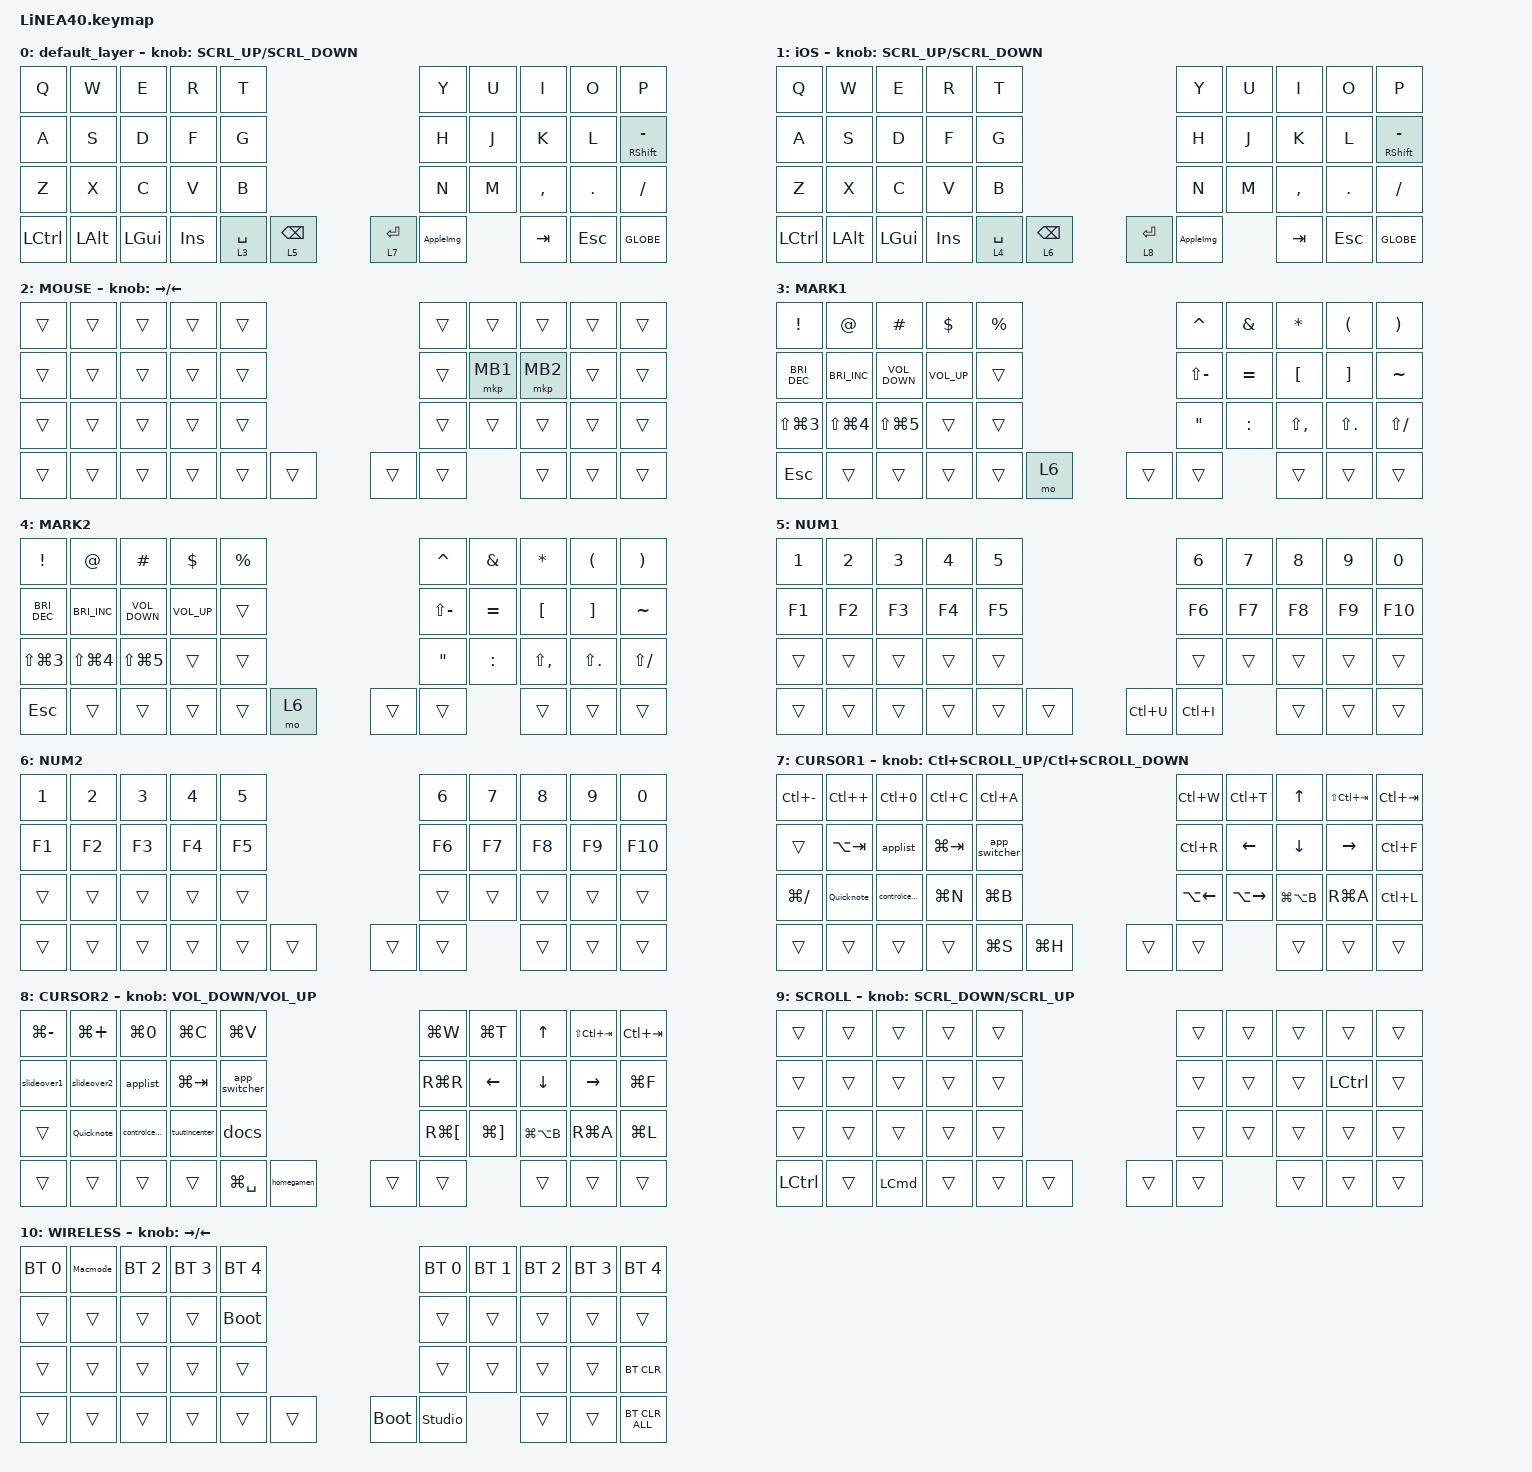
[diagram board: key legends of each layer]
#define ZMK_POINTING_DEFAULT_SCRL_VAL 150

#include <dt-bindings/zmk/input_transform.h>
#include <input/processors.dtsi>
#include <zephyr/dt-bindings/input/input-event-codes.h>
#include <behaviors.dtsi>
#include <dt-bindings/zmk/bt.h>
#include <dt-bindings/zmk/keys.h>
#include <dt-bindings/zmk/pointing.h>

&mmv {
    delay-ms = <20>;
    trigger-period-ms = <5>;
    time-to-max-speed-ms = <100>;
    acceleration-exponent = <2>;
};

&msc {
    delay-ms = <3>;
    trigger-period-ms = <3>;
    time-to-max-speed-ms = <100>;
    acceleration-exponent = <0>;
};

/ {
    input_processors {
        zip_wheel_scaler: zip_wheel_scaler {
            compatible = "zmk,input-processor-scaler";
            #input-processor-cells = <2>;
            type = <INPUT_EV_REL>;
            codes = <INPUT_REL_WHEEL>;
            track-remainders;
        };
    };
};

/ {
    combos {
        compatible = "zmk,combos";

        Bt {
            bindings = <&mo 10>;
            key-positions = <34 35>;
            timeout-ms = <50>;
            require-prior-idle-ms = <150>;
        };

        scroll {
            bindings = <&mo 9>;
            key-positions = <16 17>;
            timeout-ms = <50>;
            require-prior-idle-ms = <150>;
        };
    };

    behaviors {
        re_kp: sensor_rotate_kp {
            compatible = "zmk,behavior-sensor-rotate-var";
            #sensor-binding-cells = <2>;
            bindings = <&kp>, <&kp>;
        };

        mouse_scrl: mouse_wheel_scrl {
            compatible = "zmk,behavior-sensor-rotate-var";
            #sensor-binding-cells = <2>;
            bindings = <&msc>, <&msc>;

            tap-ms = <20>;
        };
    };

    macros {
        AppleImg: AppleImg {
            compatible = "zmk,behavior-macro";
            #binding-cells = <0>;
            bindings =
                <&macro_press>,
                <&kp LEFT_CONTROL>,
                <&macro_tap>,
                <&kp SPACE>,
                <&macro_release>,
                <&kp LEFT_CONTROL>;

            label = "APPLEIMG";
        };

        Macmode: new_macro {
            compatible = "zmk,behavior-macro";
            #binding-cells = <0>;
            bindings =
                <&bt BT_SEL 1>,
                <&macro_wait_time 200>,
                <&macro_tap>,
                <&tog 1>;

            label = "NEW_MACRO";
        };

        app_switcher: app_switcher {
            compatible = "zmk,behavior-macro";
            #binding-cells = <0>;
            bindings =
                <&macro_press>,
                <&kp GLOBE>,
                <&macro_tap>,
                <&kp UP_ARROW>,
                <&macro_release>,
                <&kp GLOBE>;

            label = "APP_SWITCHER";
        };

        controlcenter: controlcenter {
            compatible = "zmk,behavior-macro";
            #binding-cells = <0>;
            bindings =
                <&macro_press>,
                <&kp GLOBE>,
                <&macro_tap>,
                <&kp C>,
                <&macro_release>,
                <&kp GLOBE>;

            label = "CONTROLCENTER";
        };

        tuutincenter: tuutincenter {
            compatible = "zmk,behavior-macro";
            #binding-cells = <0>;
            bindings =
                <&macro_press>,
                <&kp GLOBE>,
                <&macro_tap>,
                <&kp N>,
                <&macro_release>,
                <&kp GLOBE>;

            label = "TUUTINCENTER";
        };

        docs: docs {
            compatible = "zmk,behavior-macro";
            #binding-cells = <0>;
            bindings =
                <&macro_press>,
                <&kp GLOBE>,
                <&macro_tap>,
                <&kp A>,
                <&macro_release>,
                <&kp GLOBE>;

            label = "DOCS";
        };

        applist: AppList {
            compatible = "zmk,behavior-macro";
            #binding-cells = <0>;
            bindings =
                <&macro_press>,
                <&kp GLOBE>,
                <&macro_tap>,
                <&kp LS(A)>,
                <&macro_release>,
                <&kp GLOBE>;

            label = "APPLIST";
        };

        homegamen: homegamen {
            compatible = "zmk,behavior-macro";
            #binding-cells = <0>;
            bindings =
                <&macro_press>,
                <&kp GLOBE>,
                <&macro_tap>,
                <&kp H>,
                <&macro_release>,
                <&kp GLOBE>;

            label = "HOMEGAMEN";
        };

        slideover1: slideover1 {
            compatible = "zmk,behavior-macro";
            #binding-cells = <0>;
            bindings =
                <&macro_press>,
                <&kp GLOBE>,
                <&macro_tap>,
                <&kp LA(LEFT_ARROW)>,
                <&macro_release>,
                <&kp GLOBE>;

            label = "SLIDEOVER1";
        };

        slideover2: slideover2 {
            compatible = "zmk,behavior-macro";
            #binding-cells = <0>;
            bindings =
                <&macro_press>,
                <&kp GLOBE>,
                <&macro_tap>,
                <&kp LA(RIGHT_ARROW)>,
                <&macro_release>,
                <&kp GLOBE>;

            label = "SLIDEOVER2";
        };

        Quicknote: Quicknote {
            compatible = "zmk,behavior-macro";
            #binding-cells = <0>;
            bindings =
                <&macro_press>,
                <&kp GLOBE>,
                <&macro_tap>,
                <&kp Q>,
                <&macro_release>,
                <&kp GLOBE>;

            label = "QUICKNOTE";
        };
    };

    keymap {
        compatible = "zmk,keymap";

        default_layer {
            bindings = <
&kp Q      &kp W         &kp E         &kp R    &kp T                                        &kp Y      &kp U  &kp I      &kp O       &kp P
&kp A      &kp S         &kp D         &kp F    &kp G                                        &kp H      &kp J  &kp K      &kp L       &mt RIGHT_SHIFT MINUS
&kp Z      &kp X         &kp C         &kp V    &kp B                                        &kp N      &kp M  &kp COMMA  &kp DOT     &kp SLASH
&kp LCTRL  &kp LEFT_ALT  &kp LEFT_GUI  &kp INS  &lt 3 SPACE  &lt 5 BACKSPACE    &lt 7 ENTER  &AppleImg         &kp TAB    &kp ESCAPE  &kp GLOBE
            >;

            sensor-bindings = <&mouse_scrl SCRL_UP SCRL_DOWN>;
        };

        //1

        iOS {
            bindings = <
&kp Q      &kp W         &kp E         &kp R    &kp T                                        &kp Y      &kp U  &kp I      &kp O       &kp P
&kp A      &kp S         &kp D         &kp F    &kp G                                        &kp H      &kp J  &kp K      &kp L       &mt RIGHT_SHIFT MINUS
&kp Z      &kp X         &kp C         &kp V    &kp B                                        &kp N      &kp M  &kp COMMA  &kp DOT     &kp SLASH
&kp LCTRL  &kp LEFT_ALT  &kp LEFT_GUI  &kp INS  &lt 4 SPACE  &lt 6 BACKSPACE    &lt 8 ENTER  &AppleImg         &kp TAB    &kp ESCAPE  &kp GLOBE
            >;

            sensor-bindings = <&mouse_scrl SCRL_UP SCRL_DOWN>;
        };

        //2

        MOUSE {
            bindings = <
&trans  &trans  &trans  &trans  &trans                    &trans  &trans    &trans    &trans  &trans
&trans  &trans  &trans  &trans  &trans                    &trans  &mkp MB1  &mkp MB2  &trans  &trans
&trans  &trans  &trans  &trans  &trans                    &trans  &trans    &trans    &trans  &trans
&trans  &trans  &trans  &trans  &trans  &trans    &trans  &trans            &trans    &trans  &trans
            >;

            sensor-bindings = <&inc_dec_kp RIGHT LEFT_ARROW>;
        };

        //3

        MARK1 {
            bindings = <
&kp EXCLAMATION       &kp AT                &kp HASH           &kp DOLLAR       &kp PERCENT                   &kp CARET          &kp AMPERSAND  &kp ASTERISK      &kp LEFT_PARENTHESIS  &kp RIGHT_PARENTHESIS
&kp C_BRIGHTNESS_DEC  &kp C_BRIGHTNESS_INC  &kp C_VOLUME_DOWN  &kp C_VOLUME_UP  &trans                        &kp LS(MINUS)      &kp EQUAL      &kp LEFT_BRACKET  &kp RIGHT_BRACKET     &kp TILDE
&kp LS(LG(NUMBER_3))  &kp LS(LG(NUMBER_4))  &kp LS(LG(N5))     &trans           &trans                        &kp DOUBLE_QUOTES  &kp COLON      &kp LS(COMMA)     &kp LS(PERIOD)        &kp LS(SLASH)
&kp ESCAPE            &trans                &trans             &trans           &trans       &mo 6    &trans  &trans                            &trans            &trans                &trans
            >;
        };

        //4

        MARK2 {
            bindings = <
&kp EXCLAMATION       &kp AT                &kp HASH           &kp DOLLAR       &kp PERCENT                   &kp CARET          &kp AMPERSAND  &kp ASTERISK      &kp LEFT_PARENTHESIS  &kp RIGHT_PARENTHESIS
&kp C_BRIGHTNESS_DEC  &kp C_BRIGHTNESS_INC  &kp C_VOLUME_DOWN  &kp C_VOLUME_UP  &trans                        &kp LS(MINUS)      &kp EQUAL      &kp LEFT_BRACKET  &kp RIGHT_BRACKET     &kp TILDE
&kp LS(LG(NUMBER_3))  &kp LS(LG(NUMBER_4))  &kp LS(LG(N5))     &trans           &trans                        &kp DOUBLE_QUOTES  &kp COLON      &kp LS(COMMA)     &kp LS(PERIOD)        &kp LS(SLASH)
&kp ESCAPE            &trans                &trans             &trans           &trans       &mo 6    &trans  &trans                            &trans            &trans                &trans
            >;
        };

        //5

        NUM1 {
            bindings = <
&kp NUMBER_1  &kp NUMBER_2  &kp NUMBER_3  &kp NUMBER_4  &kp N5                       &kp NUMBER_6  &kp NUMBER_7  &kp NUMBER_8  &kp NUMBER_9  &kp N0
&kp F1        &kp F2        &kp F3        &kp F4        &kp F5                       &kp F6        &kp F7        &kp F8        &kp F9        &kp F10
&trans        &trans        &trans        &trans        &trans                       &trans        &trans        &trans        &trans        &trans
&trans        &trans        &trans        &trans        &trans  &trans    &kp LC(U)  &kp LC(I)                   &trans        &trans        &trans
            >;
        };

        //6

        NUM2 {
            bindings = <
&kp NUMBER_1  &kp NUMBER_2  &kp NUMBER_3  &kp NUMBER_4  &kp N5                    &kp NUMBER_6  &kp NUMBER_7  &kp NUMBER_8  &kp NUMBER_9  &kp N0
&kp F1        &kp F2        &kp F3        &kp F4        &kp F5                    &kp F6        &kp F7        &kp F8        &kp F9        &kp F10
&trans        &trans        &trans        &trans        &trans                    &trans        &trans        &trans        &trans        &trans
&trans        &trans        &trans        &trans        &trans  &trans    &trans  &trans                      &trans        &trans        &trans
            >;
        };

        //7

        CURSOR1 {
            bindings = <
&kp LC(MINUS)  &kp LC(PLUS)  &kp LC(NUMBER_0)  &kp LC(C)    &kp LC(A)                           &kp LC(W)           &kp LC(T)            &kp UP_ARROW    &kp LS(LC(TAB))  &kp LC(TAB)
&trans         &kp LA(TAB)   &applist          &kp LG(TAB)  &app_switcher                       &kp LC(R)           &kp LEFT_ARROW       &kp DOWN_ARROW  &kp RIGHT_ARROW  &kp LC(F)
&kp LG(SLASH)  &Quicknote    &controlcenter    &kp LG(N)    &kp LG(B)                           &kp LA(LEFT_ARROW)  &kp LA(RIGHT_ARROW)  &kp LG(LA(B))   &kp RG(A)        &kp LC(L)
&trans         &trans        &trans            &trans       &kp LG(S)      &kp LG(H)    &trans  &trans                                   &trans          &trans           &trans
            >;

            sensor-bindings = <&inc_dec_kp LC(K_SCROLL_UP) LC(K_SCROLL_DOWN)>;
        };

        //8

        CURSOR2 {
            bindings = <
&kp LG(MINUS)  &kp LG(PLUS)  &kp LG(NUMBER_0)  &kp LG(C)      &kp LG(V)                            &kp LG(W)             &kp LG(T)              &kp UP_ARROW    &kp LS(LC(TAB))  &kp LC(TAB)
&slideover1    &slideover2   &applist          &kp LG(TAB)    &app_switcher                        &kp RG(R)             &kp LEFT_ARROW         &kp DOWN_ARROW  &kp RIGHT_ARROW  &kp LG(F)
&trans         &Quicknote    &controlcenter    &tuutincenter  &docs                                &kp RG(LEFT_BRACKET)  &kp LG(RIGHT_BRACKET)  &kp LG(LA(B))   &kp RG(A)        &kp LG(L)
&trans         &trans        &trans            &trans         &kp LG(SPACE)  &homegamen    &trans  &trans                                       &trans          &trans           &trans
            >;

            sensor-bindings = <&inc_dec_kp C_VOLUME_DOWN K_VOLUME_UP>;
        };

        //9

        SCROLL {
            bindings = <
&trans            &trans  &trans            &trans  &trans                    &trans  &trans  &trans  &trans            &trans
&trans            &trans  &trans            &trans  &trans                    &trans  &trans  &trans  &kp LEFT_CONTROL  &trans
&trans            &trans  &trans            &trans  &trans                    &trans  &trans  &trans  &trans            &trans
&kp LEFT_CONTROL  &trans  &kp LEFT_COMMAND  &trans  &trans  &trans    &trans  &trans          &trans  &trans            &trans
            >;

            sensor-bindings = <&mouse_scrl SCRL_DOWN SCRL_UP>;
        };

        //10

        WIRELESS {
            bindings = <
&bt BT_SEL 0  &Macmode  &bt BT_SEL 2  &bt BT_SEL 3  &bt BT_SEL 4                         &bt BT_SEL 0    &bt BT_SEL 1  &bt BT_SEL 2  &bt BT_SEL 3  &bt BT_SEL 4
&trans        &trans    &trans        &trans        &bootloader                          &trans          &trans        &trans        &trans        &trans
&trans        &trans    &trans        &trans        &trans                               &trans          &trans        &trans        &trans        &bt BT_CLR
&trans        &trans    &trans        &trans        &trans        &trans    &bootloader  &studio_unlock                &trans        &trans        &bt BT_CLR_ALL
            >;

            sensor-bindings = <&inc_dec_kp RIGHT_ARROW LEFT_ARROW>;
        };
    };
};
